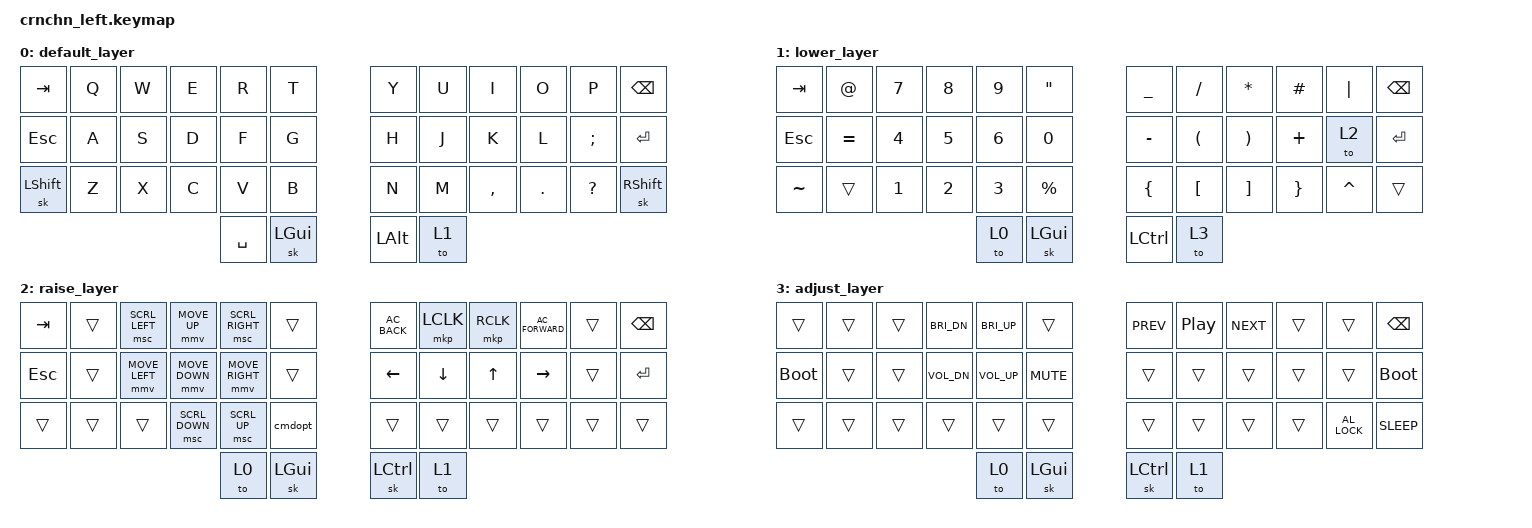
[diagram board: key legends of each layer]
/*
 * Copyright (c) 2020 The ZMK Contributors
 *
 * SPDX-License-Identifier: MIT
 */

#include <behaviors.dtsi>
#include <dt-bindings/zmk/keys.h>
#include <dt-bindings/zmk/bt.h>
#include <dt-bindings/zmk/outputs.h>
#include <dt-bindings/zmk/pointing.h>
#include <behaviors/mouse_keys.dtsi>

&mt {
    flavor = "tap-preferred";
    tapping_term_ms = <200>;
};

&mmv {
   time-to-max-speed-ms = <480>;
   acceleration-exponent=<3>;
};



// Cornichon Layout (6 cols + 2 thumbs per side)
// ┌─────┬─────┬─────┬─────┬─────┬─────┐   ┌─────┬─────┬─────┬─────┬─────┬─────┐
// │  0  │  1  │  2  │  3  │  4  │  5  │   │  6  │  7  │  8  │  9  │ 10  │ 11  │
// ├─────┼─────┼─────┼─────┼─────┼─────┤   ├─────┼─────┼─────┼─────┼─────┼─────┤
// │ 12  │ 13  │ 14  │ 15  │ 16  │ 17  │   │ 18  │ 19  │ 20  │ 21  │ 22  │ 23  │
// ├─────┼─────┼─────┼─────┼─────┼─────┤   ├─────┼─────┼─────┼─────┼─────┼─────┤
// │ 24  │ 25  │ 26  │ 27  │ 28  │ 29  │   │ 30  │ 31  │ 32  │ 33  │ 34  │ 35  │
// └─────┴─────┴─────┼─────┼─────┴─────┘   └─────┴─────┼─────┼─────┴─────┴─────┘
//                   │ 36  │ 37  │                   │ 38  │ 39  │
//                   └─────┴─────┘                   └─────┴─────┘

/ {
    keymap {
        compatible = "zmk,keymap";

        default_layer {
//┌─────┬─────┬─────┬─────┬─────┬─────┐   ┌─────┬─────┬─────┬─────┬─────┬─────┐
//│ TAB │  Q  │  W  │  E  │  R  │  T  │   │  Y  │  U  │  I  │  O  │  P  │BSPC │
//├─────┼─────┼─────┼─────┼─────┼─────┤   ├─────┼─────┼─────┼─────┼─────┼─────┤
//│ ESC │  A  │  S  │  D  │  F  │  G  │   │  H  │  J  │  K  │  L  │  ;  │ RET │
//├─────┼─────┼─────┼─────┼─────┼─────┤   ├─────┼─────┼─────┼─────┼─────┼─────┤
//│LSHFT│  Z  │  X  │  C  │  V  │  B  │   │  N  │  M  │  ,  │  .  │  ?  │RSHFT│
//└─────┴─────┴─────┼─────┼─────┴─────┘   └─────┴─────┼─────┼─────┴─────┴─────┘
//                  │SPACE│ GUI │                   │CTRL │ L1  │
//                  └─────┴─────┘                   └─────┴─────┘
            bindings = <
                &kp  TAB         &kp Q       &kp W       &kp E       &kp R       &kp T       &kp Y       &kp U       &kp I       &kp O       &kp P       &kp BSPC
                &kp ESC          &kp A       &kp S       &kp D       &kp F       &kp G       &kp H       &kp J       &kp K       &kp L       &kp SEMI    &kp RET
                &sk LSHIFT       &kp Z       &kp X       &kp C       &kp V       &kp B       &kp N       &kp M       &kp COMMA   &kp DOT     &kp QMARK    &sk RSHIFT
                                                                &kp SPACE    &sk LGUI   &kp LALT    &to 1

            >;
        };

        lower_layer {
//             ┌─────┬─────┬─────┬─────┬─────┬─────┐   ┌─────┬─────┬─────┬─────┬─────┬─────┐
//             │ TAB │  @  │  7  │  8  │  9  │  "  │   │  _  │  /  │  *  │  #  │  |  │ DEL │
//             ├─────┼─────┼─────┼─────┼─────┼─────┤   ├─────┼─────┼─────┼─────┼─────┼─────┤
//             │ ESC │  =  │  4  │  5  │  6  │  0  │   │  -  │  (  │  )  │  +  │ L2  │ RET │
//             ├─────┼─────┼─────┼─────┼─────┼─────┤   ├─────┼─────┼─────┼─────┼─────┼─────┤
//             │  ~  │ EUR │  1  │  2  │  3  │  %  │   │  {  │  [  │  ]  │  }  │  ^  │REPT │
//             └─────┴─────┴─────┼─────┼─────┴─────┘   └─────┴─────┼─────┼─────┴─────┴─────┘
//                               │SPACE│ L0  │                   │CTRL │ L3  │
//                               └─────┴─────┘                   └─────┴─────┘
            bindings = <
                &kp TAB          &kp AT          &kp N7          &kp N8          &kp N9          &kp DQT          &kp UNDER          &kp SLASH          &kp STAR          &kp HASH          &kp PIPE          &kp BSPC
                &kp ESC          &kp EQUAL          &kp N4          &kp N5          &kp N6          &kp N0          &kp MINUS          &kp LPAR          &kp RPAR          &kp PLUS          &to 2         &kp RET
                &kp TILDE          &trans          &kp N1         &kp N2          &kp N3          &kp PRCNT          &kp LBRC          &kp LBKT          &kp RBKT          &kp RBRC          &kp CARET   &trans
                                                                                            &to 0 &sk LGUI  &kp LCTRL   &to 3
            >;
        };

        raise_layer {
//            ┌─────┬─────┬─────┬─────┬─────┬─────┐   ┌─────┬─────┬─────┬─────┬─────┬─────┐
//            │ TAB │     │SC←  │MS↑  │SC→  │     │   │BACK │LCLK │RCLK │FORW │     │ DEL │
//            ├─────┼─────┼─────┼─────┼─────┼─────┤   ├─────┼─────┼─────┼─────┼─────┼─────┤
//            │ ESC │     │MS←  │MS↓  │MS→  │     │   │  ←  │  ↓  │  ↑  │  →  │     │ RET │
//            ├─────┼─────┼─────┼─────┼─────┼─────┤   ├─────┼─────┼─────┼─────┼─────┼─────┤
//            │     │     │     │SC↓  │SC↑  │CMDOP│   │     │     │     │     │     │     │
//            └─────┴─────┴─────┼─────┼─────┴─────┘   └─────┴─────┼─────┼─────┴─────┴─────┘
//                              │SPACE│ L0  │                   │CTRL │ L1  │
//                              └─────┴─────┘                   └─────┴─────┘
            bindings = <
                &kp TAB        &trans &msc SCRL_LEFT    &mmv MOVE_UP         &msc SCRL_RIGHT        &trans      &kp C_AC_BACK          &mkp LCLK          &mkp RCLK      &kp C_AC_FORWARD          &trans        &kp BSPC
                &kp ESC          &trans          &mmv MOVE_LEFT          &mmv MOVE_DOWN          &mmv MOVE_RIGHT          &trans          &kp LEFT       &kp DOWN       &kp UP        &kp RIGHT        &trans        &kp RET
                &trans          &trans          &trans          &msc SCRL_DOWN          &msc SCRL_UP          &cmdopt          &trans        &trans &trans &trans &trans &trans
                                                                                       &to 0 &sk LGUI  &sk LCTRL     &to 1
            >;
        };

        adjust_layer {
//                ┌─────┬─────┬─────┬─────┬─────┬─────┐   ┌─────┬─────┬─────┬─────┬─────┬─────┐
//                │     │     │     │BRI- │BRI+ │     │   │PREV │PLAY │NEXT │     │     │ DEL │
//                ├─────┼─────┼─────┼─────┼─────┼─────┤   ├─────┼─────┼─────┼─────┼─────┼─────┤
//                │     │     │     │VOL- │VOL+ │MUTE │   │     │     │     │     │     │     │
//                ├─────┼─────┼─────┼─────┼─────┼─────┤   ├─────┼─────┼─────┼─────┼─────┼─────┤
//                │     │     │     │     │     │     │   │     │     │     │     │LOCK │SLEEP│
//                └─────┴─────┴─────┼─────┼─────┴─────┘   └─────┴─────┼─────┼─────┴─────┴─────┘
//                                  │SPACE│ L0  │                   │CTRL │ L1  │
//                                  └─────┴─────┘                   └─────┴─────┘
            bindings = <
                &trans          &trans          &trans          &kp C_BRI_DN          &kp C_BRI_UP          &trans          &kp C_PREV          &kp C_PP          &kp C_NEXT      &trans         &trans          &kp BSPC
                &bootloader         &trans          &trans          &kp K_VOL_DN         &kp K_VOL_UP          &kp K_MUTE          &trans         &trans          &trans          &trans          &trans          &bootloader
                &trans          &trans          &trans          &trans          &trans          &trans          &trans          &trans          &trans          &trans          &kp C_AL_LOCK          &kp C_SLEEP
                                                                                             &to 0 &sk  LGUI   &sk LCTRL     &to 1
            >;
        };
    };
};

// Combos for quick access
/ {
    combos {
        compatible = "zmk,combos";

        combo_esc {
            timeout-ms = <50>;
            key-positions = <0 1>;  // Q + W = ESC
            bindings = <&kp ESC>;
        };

        combo_tab {
            timeout-ms = <50>;
            key-positions = <12 13>; // A + S = TAB
            bindings = <&kp TAB>;
        };

        combo_ret {
            timeout-ms = <50>;
            key-positions = <21 22>; // L + ; = ENTER
            bindings = <&kp RET>;
        };

        combo_caps {
            timeout-ms = <50>;
            key-positions = <13 14>; // S + D = CAPS
            bindings = <&kp CAPS>;
        };
        combo_screen {
            timeout-ms = <50>;
            key-positions = <25 26>; //
            bindings = <&kp LCTRL &kp LALT>;
        };
    };
};


/ {
    macros {
        euro: euro {
            compatible = "zmk,behavior-macro";
            #binding-cells = <0>;
            bindings
                = <&macro_tap &kp LSHIFT &kp LALT &kp 2>
                ;
        };
        cmdopt: cmdopt {
            compatible = "zmk,behavior-macro";
            #binding-cells = <0>;
            bindings
                = <&macro_press &kp LGUI &kp LALT >
                , <&macro_release &kp LALT &kp LGUI>
                ;
        };
        center: center {
            compatible = "zmk,behavior-macro";
            #binding-cells = <0>;
            bindings
                = <&macro_press &kp LALT &kp LCTRL &kp C>
                , <&macro_release &kp LALT &kp LCTRL &kp C>
                ;
        };
        lhalf: lhalf {
            compatible = "zmk,behavior-macro";
            #binding-cells = <0>;
            bindings
                = <&macro_press &kp LALT &kp LCTRL &kp LEFT >
                , <&macro_release &kp LALT &kp LCTRL &kp LEFT>
                ;
        };
    };
};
